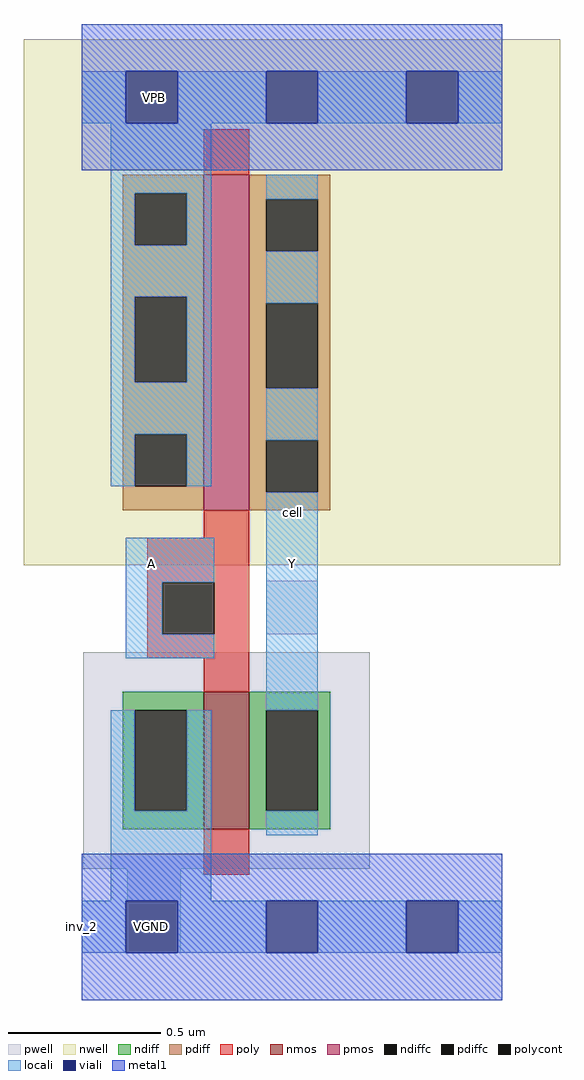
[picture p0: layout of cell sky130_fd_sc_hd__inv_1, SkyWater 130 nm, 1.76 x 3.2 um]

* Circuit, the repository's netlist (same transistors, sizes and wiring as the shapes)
* NGSPICE file created from sky130_fd_sc_hd__inv_1.ext - technology: sky130A

.subckt sky130_fd_sc_hd__inv_1 A VGND VNB VPB VPWR Y
X0 Y A VPWR VPB sky130_fd_pr__pfet_01v8 ad=0.2915 pd=2.73 as=0.2915 ps=2.73 w=1.1 l=0.15
X1 Y A VGND VNB sky130_fd_pr__nfet_01v8 ad=0.11925 pd=1.43 as=0.11925 ps=1.43 w=0.45 l=0.15
.ends

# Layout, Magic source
magic
tech sky130A
magscale 1 2
<< nwell >>
rect -38 237 314 582
<< pwell >>
rect 121 192 155 227
rect 1 38 189 180
rect 30 -17 65 38
<< nmos >>
rect 80 64 110 154
<< pmos >>
rect 80 273 110 493
<< ndiff >>
rect 27 142 80 154
rect 27 76 35 142
rect 69 76 80 142
rect 27 64 80 76
rect 110 142 163 154
rect 110 76 121 142
rect 155 76 163 142
rect 110 64 163 76
<< pdiff >>
rect 27 481 80 493
rect 27 447 35 481
rect 69 447 80 481
rect 27 413 80 447
rect 27 357 35 413
rect 69 357 80 413
rect 27 323 80 357
rect 27 289 35 323
rect 69 289 80 323
rect 27 273 80 289
rect 110 477 163 493
rect 110 443 121 477
rect 155 443 163 477
rect 110 409 163 443
rect 110 353 121 409
rect 155 353 163 409
rect 110 319 163 353
rect 110 285 121 319
rect 155 285 163 319
rect 110 273 163 285
<< ndiffc >>
rect 35 76 69 142
rect 121 76 155 142
<< pdiffc >>
rect 35 447 69 481
rect 35 357 69 413
rect 35 289 69 323
rect 121 443 155 477
rect 121 353 155 409
rect 121 285 155 319
<< poly >>
rect 80 493 110 523
rect 80 255 110 273
rect 43 226 110 255
rect 43 192 53 226
rect 87 192 110 226
rect 43 176 110 192
rect 80 154 110 176
rect 80 34 110 64
<< polycont >>
rect 53 192 87 226
<< locali >>
rect 0 527 29 561
rect 63 527 121 561
rect 155 527 213 561
rect 247 527 276 561
rect 19 481 85 527
rect 19 447 35 481
rect 69 447 85 481
rect 19 413 85 447
rect 19 357 35 413
rect 69 357 85 413
rect 19 323 85 357
rect 19 289 35 323
rect 69 289 85 323
rect 121 477 155 493
rect 121 409 155 443
rect 121 319 155 353
rect 29 226 87 255
rect 29 192 53 226
rect 29 176 87 192
rect 121 142 155 285
rect 19 76 35 142
rect 69 76 85 142
rect 19 17 85 76
rect 121 60 155 76
rect 0 -17 29 17
rect 63 -17 121 17
rect 155 -17 213 17
rect 247 -17 276 17
<< viali >>
rect 29 527 63 561
rect 121 527 155 561
rect 213 527 247 561
rect 29 -17 63 17
rect 121 -17 155 17
rect 213 -17 247 17
<< metal1 >>
rect 0 561 276 592
rect 0 527 29 561
rect 63 527 121 561
rect 155 527 213 561
rect 247 527 276 561
rect 0 496 276 527
rect 0 17 276 48
rect 0 -17 29 17
rect 63 -17 121 17
rect 155 -17 213 17
rect 247 -17 276 17
rect 0 -48 276 -17
<< labels >>
rlabel space 0 0 276 544 1 cell
flabel metal1 0 0 0 0 0 FreeSans 80 0 0 0 inv_2
flabel metal1 29 -17 63 17 1 FreeSans 80 0 0 0 VGND
port 2 n ground bidirectional
flabel pwell 30 -17 64 17 5 FreeSans 80 0 0 0 VNB
port 3 s ground bidirectional
flabel nwell 31 527 65 561 5 FreeSans 80 0 0 0 VPB
port 4 s power bidirectional
flabel metal1 29 527 63 561 1 FreeSans 80 0 0 0 VPWR
port 5 n power bidirectional
flabel locali 29 221 63 255 0 FreeSans 160 0 0 0 A
port 0 nsew signal input
flabel locali 121 221 155 255 0 FreeSans 160 0 0 0 Y
port 6 nsew signal output
<< properties >>
string FIXED_BBOX 0 0 276 544
string inv_2 0 0 0.46 2.772
string LEFclass CORE
string LEForigin 0 0
string LEFsite unithd
<< end >>
